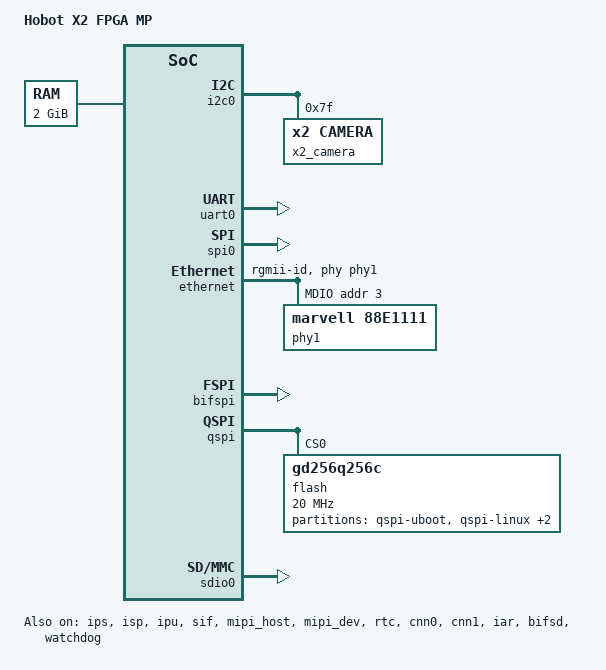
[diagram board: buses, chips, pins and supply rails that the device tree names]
/*
 * dts file for Hobot X2 FPGA
 *
 * (C) Copyright 2018, Horizon, Inc.
 *
 *
 * This program is free software; you can redistribute it and/or
 * modify it under the terms of the GNU General Public License as
 * published by the Free Software Foundation; either version 2 of
 * the License, or (at your option) any later version.
 */

/dts-v1/;
#include "hobot.dtsi"
#include "hobot-pinctrl.dtsi"
#include "hobot-clk.dtsi"
#include <dt-bindings/gpio/gpio.h>
#include <dt-bindings/phy/phy.h>

/ {
	model = "Hobot X2 FPGA MP";
	compatible = "hobot,x2-fpga";

	aliases {
		serial0 = &uart0;
		serial1 = &uart1;
		serial2 = &uart2;
		serial3 = &uart3;
		i2c0	= &i2c0;
		i2c1	= &i2c1;
		i2c2	= &i2c2;
		i2c3	= &i2c3;
		i2s0	= &i2s0;
		i2s1	= &i2s1;
		pwm0	= &pwm_0;
		pwm1	= &pwm_1;
		pwm2	= &pwm_2;
		bifspi	= &bifspi;
		bifsd   = &bifsd;
		mmc0    = &sdio0;
	};

	chosen {
		bootargs = "earlycon loglevel=8 console=ttyS0 clk_ignore_unused";
		stdout-path = "serial0:115200n8";
	};

	memory@0 {
		device_type = "memory";
		reg = <0x0 0x0 0x0 0x80000000>;
	};

	reserved-memory {
		#address-cells = <2>;
		#size-cells = <2>;
		ranges;

		/*Reserved 1M memory for bifbase*/
		bifbase_reserved: bifbase_reserved@0x02000000 {
			reg = <0x0 0x02000000 0x0 0x00100000>;
			no-map;
		};

		bifsd_reserved: bifsd_reserved@0x3D089000 {
		    reg = <0x0 0x3D089000 0x0 0x1000>;
		    no-map;
		};
		iar_reserved: iar_reserved@0x3D08A000 {
		    reg = <0x0 0x3D08A000 0x0 0x2F76000>;
		    no-map;
		};

		/* Reserved 512MB memory for cnn subsystem */
		cnn_reserved: cnn_reserved@0x40000000 {
		    reg = <0x0 0x40000000 0x0 0x20000000>;
		};

		/* Reserved 512MB memory for ipu subsystem */
		ipu_reserved: ipu_reserved@0x60000000 {
		    reg = <0x0 0x60000000 0x0 0x20000000>;
		    /*no-map;*/
		};

	};

	cnn_mm {
		compatible = "hobot,cnn-mm";
		#address-cells = <1>;
		#size-cells = <0>;

		memory-region = <&cnn_reserved>;

		cnn_heap@0 {
			reg = <0>;
			label = "cnn0_model_mm";
			type = <1>;
		};

		cnn_heap@1 {
			reg = <1>;
			label = "cnn1_model_mm";
			type = <1>;
		};

		cnn_heap@2 {
			reg = <2>;
			label = "cnn_rt_mm";
			type = <1>;
		};

		cnn_heap@3 {
			reg = <3>;
			label = "cnn_result_mm";
			type = <1>;
		};
	};
};

&i2c0 {
	status = "okay";
	#address-cells = <1>;
	#size-cells = <0>;
	x2_camera@0x7f {
	    compatible = "x2,camera";
	    reg = <0x7f>;
	};
};

&pinctrl {
	status = "okay";
	gpioirq-bank-cfg = <85 0 0 0>;	//fpga
};

&uart0 {
	status = "okay";
	clocks = <&uart0_mclk>;
	clock-names = "uart_mclk";
};

&ips {
	clocks = <&viopll_clk>, <&vio_pllmux_clk>, <&mipi_ipi_1stdiv_clk>, <&mipi_ipi_2nddiv_clk>;
	clock-names = "vio_pll", "vio_pllmux", "ipi_div1", "ipi_div2";
	pinctrl-names = "bt_func", "dvp_func";
	pinctrl-0 = <&btin_func &btout_func>;
	pinctrl-1 = <&dvpin_func &dvpout_func>;
	status = "okay";
};

&isp {
	status = "okay";
};

&ipu {
	status = "okay";
};

&sif {
	status = "okay";
};
&mipi_host {
	status = "okay";
};
&mipi_dev {
	status = "okay";
};

&dma {
	status = "okay";
};

&x2dmatest {
	status = "disabled";
};

&rtc {
	status = "okay";
};

&pwm_0 {
	status = "disabled";
};

&spi0 {
	status = "okay";
};

&ethernet {
	status = "okay";

	/* local-mac-address = [ 00 11 22 33 44 55 ]; */
	phy-handle = <&phy1>;
	phy-mode = "rgmii-id";
	mdio {
		#address-cells = <0x1>;
		#size-cells = <0x0>;
		phy1: phy@3 {
			compatible = "marvell,88E1111","ethernet-phy-ieee802.3-c22";
			reg = <0x3>;
		};
	};
};

&cnn0 {
	status = "okay";
};

&cnn1 {
	status = "okay";
};

&iar {
	status = "okay";
};

&bifspi {
	status = "okay";
};

&bifsd {
	status = "okay";
	/*cd-gpio = <77>;*/
};
&bifbase {
	bifbase_irq_pin = <85>;
	bifbase_tri_pin = <84>;
};
&qspi {
	status = "okay";
	#address-cells = <1>;
	#size-cells = <0>;

	flash@0 {
		compatible = "gd256q256c";
		#address-cells = <1>;
		#size-cells = <1>;
		reg = <0x0>;
	        spi-tx-bus-width = <4>;
		spi-rx-bus-width = <4>;
		spi-max-frequency = <20000000>; /* For FPGA max clk is 20Mhz */

		partition@qspi-uboot {
			label = "qspi-uboot";
			reg = <0x200000 0x200000>;
		};
		partition@qspi-linux {
			label = "qspi-linux";
			reg = <0x400000 0x1000000>;
		};
		partition@qspi-device-tree {
			label = "qspi-device-tree";
			reg = <0x1400000 0x100000>;
		};
		partition@qspi-rootfs {
			label = "qspi-rootfs";
			reg = <0x1500000 0x500000>;
		};
	};
};
&sdio0 {
	status = "okay";
};

&sdio1 {
	status = "disabled";
};

&watchdog {
	status = "okay";
};

&i2s0 {
	status = "disabled";
	clocks = <&i2s0_mclk>, <&i2s0_bclk>;
	clock-names = "i2s_mclk", "i2s_bclk";
};

&i2s1 {
	status = "disabled";
	clocks = <&i2s1_mclk>, <&i2s1_bclk>;
	clock-names = "i2s_mclk", "i2s_bclk";
};
